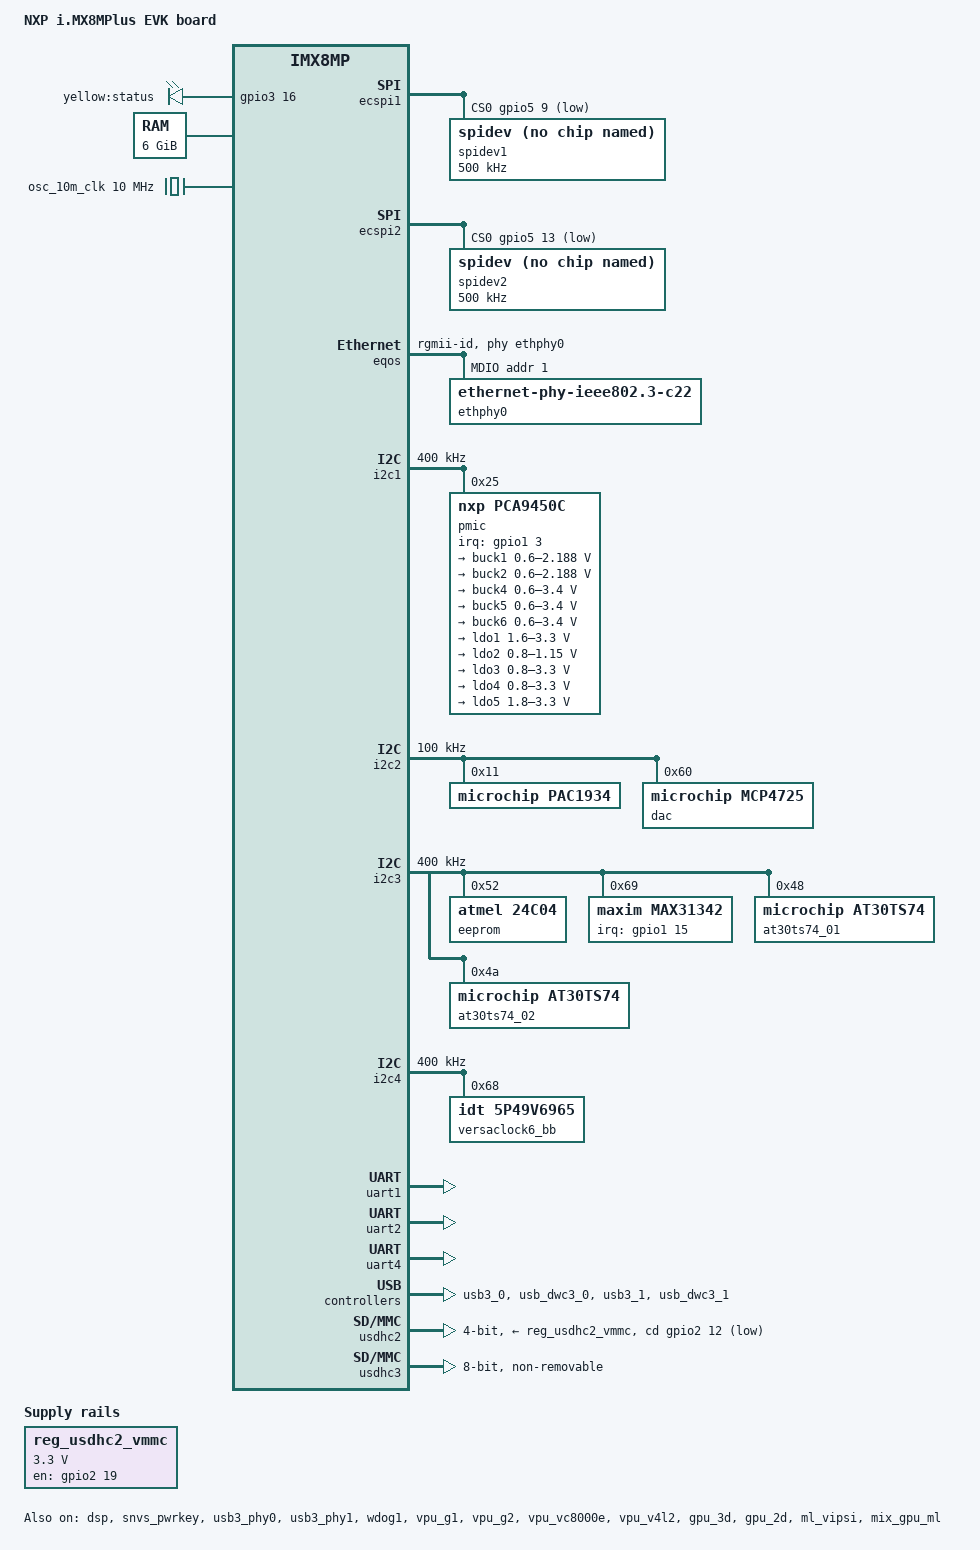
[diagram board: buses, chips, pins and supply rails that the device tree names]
// SPDX-License-Identifier: (GPL-2.0+ OR MIT)
/*
 * Copyright 2019 NXP
 */

/dts-v1/;

#include <dt-bindings/usb/pd.h>
#include <dt-bindings/clk/versaclock.h>
#include "imx8mp.dtsi"

/ {
	model = "NXP i.MX8MPlus EVK board";
	compatible = "fsl,imx8mp-evk", "fsl,imx8mp";

	chosen {
		stdout-path = &uart2;
	};

	gpio-leds {
		compatible = "gpio-leds";
		pinctrl-names = "default";
		pinctrl-0 = <&pinctrl_gpio_led>;

		status {
			label = "yellow:status";
			gpios = <&gpio3 16 GPIO_ACTIVE_HIGH>;
			default-state = "on";
		};
	};

	memory@40000000 {
		device_type = "memory";
		reg = <0x0 0x40000000 0 0xc0000000>,
		      <0x1 0x00000000 0 0xc0000000>;
	};

	reg_usdhc2_vmmc: regulator-usdhc2 {
		compatible = "regulator-fixed";
		pinctrl-names = "default";
		pinctrl-0 = <&pinctrl_reg_usdhc2_vmmc>;
		regulator-name = "VSD_3V3";
		regulator-min-microvolt = <3300000>;
		regulator-max-microvolt = <3300000>;
		gpio = <&gpio2 19 GPIO_ACTIVE_HIGH>;
		enable-active-high;
	};

	osc_10m_clk: osc-10m-clock {
		compatible = "fixed-clock";
		#clock-cells = <0>;
		clock-frequency = <10000000>;
	};
};

&A53_0 {
	cpu-supply = <&buck2>;
};

&A53_1 {
	cpu-supply = <&buck2>;
};

&A53_2 {
	cpu-supply = <&buck2>;
};

&A53_3 {
	cpu-supply = <&buck2>;
};

&dsp {
	status = "okay";
};

&ecspi1 {
	#address-cells = <1>;
	#size-cells = <0>;
	fsl,spi-num-chipselects = <1>;
	pinctrl-names = "default";
	pinctrl-0 = <&pinctrl_ecspi1 &pinctrl_ecspi1_cs>;
	cs-gpios = <&gpio5 9 GPIO_ACTIVE_LOW>;
	status = "okay";

	spidev1: spi@0 {
		reg = <0>;
		compatible = "rohm,dh2228fv";
		spi-max-frequency = <500000>;
	};
};

&ecspi2 {
	#address-cells = <1>;
	#size-cells = <0>;
	fsl,spi-num-chipselects = <1>;
	pinctrl-names = "default";
	pinctrl-0 = <&pinctrl_ecspi2 &pinctrl_ecspi2_cs>;
	cs-gpios = <&gpio5 13 GPIO_ACTIVE_LOW>;
	status = "okay";

	spidev2: spi@0 {
		reg = <0>;
		compatible = "rohm,dh2228fv";
		spi-max-frequency = <500000>;
	};
};

&eqos {
	pinctrl-names = "default";
	pinctrl-0 = <&pinctrl_eqos>;
	phy-mode = "rgmii-id";
	phy-handle = <&ethphy0>;
	snps,force_thresh_dma_mode;
	snps,mtl-tx-config = <&mtl_tx_setup>;
	snps,mtl-rx-config = <&mtl_rx_setup>;
	status = "okay";

	mdio {
		compatible = "snps,dwmac-mdio";
		#address-cells = <1>;
		#size-cells = <0>;

		ethphy0: ethernet-phy@1 {
			compatible = "ethernet-phy-ieee802.3-c22";
			reg = <1>;
			eee-broken-1000t;
			realtek,clkout-disable;
		};
	};

	mtl_tx_setup: tx-queues-config {
		snps,tx-queues-to-use = <5>;
		snps,tx-sched-sp;
		queue0 {
			snps,dcb-algorithm;
			snps,priority = <0x1>;
		};
		queue1 {
			snps,dcb-algorithm;
			snps,priority = <0x2>;
		};
		queue2 {
			snps,dcb-algorithm;
			snps,priority = <0x4>;
		};
		queue3 {
			snps,dcb-algorithm;
			snps,priority = <0x8>;
		};
		queue4 {
			snps,dcb-algorithm;
			snps,priority = <0xf0>;
		};
	};
	mtl_rx_setup: rx-queues-config {
		snps,rx-queues-to-use = <5>;
		snps,rx-sched-sp;
		queue0 {
			snps,dcb-algorithm;
			snps,priority = <0x1>;
			snps,map-to-dma-channel = <0>;
		};
		queue1 {
			snps,dcb-algorithm;
			snps,priority = <0x2>;
			snps,map-to-dma-channel = <1>;
		};
		queue2 {
			snps,dcb-algorithm;
			snps,priority = <0x4>;
			snps,map-to-dma-channel = <2>;
		};
		queue3 {
			snps,dcb-algorithm;
			snps,priority = <0x8>;
			snps,map-to-dma-channel = <3>;
		};
		queue4 {
			snps,dcb-algorithm;
			snps,priority = <0xf0>;
			snps,map-to-dma-channel = <4>;
		};
	};
};

&i2c1 {
	clock-frequency = <400000>;
	pinctrl-names = "default";
	pinctrl-0 = <&pinctrl_i2c1>;
	status = "okay";

	pmic@25 {
		compatible = "nxp,pca9450c";
		reg = <0x25>;
		pinctrl-names = "default";
		pinctrl-0 = <&pinctrl_pmic>;
		interrupt-parent = <&gpio1>;
		interrupts = <3 IRQ_TYPE_LEVEL_LOW>;

		regulators {
			buck1: BUCK1 {
				regulator-name = "BUCK1";
				regulator-min-microvolt = <600000>;
				regulator-max-microvolt = <2187500>;
				regulator-boot-on;
				regulator-always-on;
				regulator-ramp-delay = <3125>;
			};

			buck2: BUCK2 {
				regulator-name = "BUCK2";
				regulator-min-microvolt = <600000>;
				regulator-max-microvolt = <2187500>;
				regulator-boot-on;
				regulator-always-on;
				regulator-ramp-delay = <3125>;
				nxp,dvs-run-voltage = <950000>;
				nxp,dvs-standby-voltage = <850000>;
			};

			buck4: BUCK4{
				regulator-name = "BUCK4";
				regulator-min-microvolt = <600000>;
				regulator-max-microvolt = <3400000>;
				regulator-boot-on;
				regulator-always-on;
			};

			buck5: BUCK5{
				regulator-name = "BUCK5";
				regulator-min-microvolt = <600000>;
				regulator-max-microvolt = <3400000>;
				regulator-boot-on;
				regulator-always-on;
			};

			buck6: BUCK6 {
				regulator-name = "BUCK6";
				regulator-min-microvolt = <600000>;
				regulator-max-microvolt = <3400000>;
				regulator-boot-on;
				regulator-always-on;
			};

			ldo1: LDO1 {
				regulator-name = "LDO1";
				regulator-min-microvolt = <1600000>;
				regulator-max-microvolt = <3300000>;
				regulator-boot-on;
				regulator-always-on;
			};

			ldo2: LDO2 {
				regulator-name = "LDO2";
				regulator-min-microvolt = <800000>;
				regulator-max-microvolt = <1150000>;
				regulator-boot-on;
				regulator-always-on;
			};

			ldo3: LDO3 {
				regulator-name = "LDO3";
				regulator-min-microvolt = <800000>;
				regulator-max-microvolt = <3300000>;
				regulator-boot-on;
				regulator-always-on;
			};

			ldo4: LDO4 {
				regulator-name = "LDO4";
				regulator-min-microvolt = <800000>;
				regulator-max-microvolt = <3300000>;
				regulator-boot-on;
				regulator-always-on;
			};

			ldo5: LDO5 {
				regulator-name = "LDO5";
				regulator-min-microvolt = <1800000>;
				regulator-max-microvolt = <3300000>;
				regulator-boot-on;
				regulator-always-on;
			};
		};
	};
};

&i2c2 {
	clock-frequency = <100000>;
	pinctrl-names = "default";
	pinctrl-0 = <&pinctrl_i2c2>;
	status = "okay";

	pac1934@11 {
		compatible = "microchip,pac1934";
		reg = <0x11>;
		samp-rate = <64>;
		status = "okay";

		ch1: channel@0 {
			uohms-shunt-res = <100000>; /* shunt resistor is 10 mOhm */
			rail-name = "R1";
			channel_enabled;
			channel_index = <1>;
		};

		ch2: channel@1 {
			uohms-shunt-res = <100000>; /* shunt resistor is 10 mOhm */
			rail-name = "R2";
			channel_enabled;
			channel_index = <2>;
		};

		ch3: channel@2 {
			uohms-shunt-res = <100000>; /* shunt resistor is 10 mOhm */
			rail-name = "R3";
			channel_enabled;
			channel_index = <3>;
		};

		ch4: channel@3 {
			uohms-shunt-res = <100000>; /* shunt resistor is 10 mOhm */
			rail-name = "R4";
			channel_enabled;
			channel_index = <4>;
		};
	};

	dac@60 {
		compatible = "microchip,mcp4725";
		reg = <0x60>;
	};
};

&i2c3 {
	clock-frequency = <400000>;
	pinctrl-names = "default";
	pinctrl-0 = <&pinctrl_i2c3>;
	status = "okay";

	eeprom@52 {
		compatible = "atmel,24c04"; /* Todo : Address need to confirm*/
		reg = <0x52>;
	};

	max31342: max31342@69 {
		compatible = "maxim,max31342";
		reg = <0x69>;
		interrupt-parent = <&gpio1>;
		interrupts = <15 8>;
	};

	at30ts74_01: at30ts74_01@48 {
		compatible = "microchip,at30ts74";
		reg = <0x48>;
	};

	at30ts74_02: at30ts74_02@4a {
		compatible = "microchip,at30ts74";
		reg = <0x4a>;
	};
};

&i2c4 {
	clock-frequency = <400000>;
	pinctrl-names = "default";
	pinctrl-0 = <&pinctrl_i2c4>;
	status = "okay";

	versaclock6_bb: clock-controller@68 {
		compatible = "idt,5p49v6965";
		reg = <0x68>;
		#clock-cells = <1>;
		clocks = <&osc_10m_clk>;
		clock-names = "xin";

		assigned-clocks = <&versaclock6_bb 1>,
				   <&versaclock6_bb 2>,
				   <&versaclock6_bb 3>,
				   <&versaclock6_bb 4>;
		assigned-clock-rates =	<25000000>, <26000000>, <24000000>, <32768>;

		OUT1 {
			idt,mode = <VC5_CMOS>;
			idt,voltage-microvolt = <1800000>;
			idt,slew-percent = <100>;
		};

		OUT2 {
			idt,mode = <VC5_CMOS>;
			idt,voltage-microvolt = <1800000>;
			idt,slew-percent = <100>;
		};

		OUT3 {
			idt,mode = <VC5_CMOS>;
			idt,voltage-microvolt = <1800000>;
			idt,slew-percent = <100>;
		};

		OUT4 {
			idt,mode = <VC5_CMOS>;
			idt,voltage-microvolt = <1800000>;
			idt,slew-percent = <100>;
		};
	};
};

&snvs_pwrkey {
	status = "okay";
};

&sdma2 {
	status = "okay";
};

&uart1 {
	pinctrl-names = "default";
	pinctrl-0 = <&pinctrl_uart1>;
	assigned-clocks = <&clk IMX8MP_CLK_UART1>;
	assigned-clock-parents = <&clk IMX8MP_SYS_PLL1_80M>;
	status = "okay";
};

&uart2 {
	/* console */
	pinctrl-names = "default";
	pinctrl-0 = <&pinctrl_uart2>;
	status = "okay";
};

&uart4 {
	pinctrl-names = "default";
	pinctrl-0 = <&pinctrl_uart4>;
	assigned-clocks = <&clk IMX8MP_CLK_UART4>;
	assigned-clock-parents = <&clk IMX8MP_SYS_PLL1_80M>;
	status = "okay";
};

&usb3_phy0 {
	status = "okay";
};

&usb3_0 {
	status = "okay";
};

&usb_dwc3_0 {
	status = "okay";
};

&usb3_phy1 {
	status = "okay";
};

&usb3_1 {
	status = "okay";
};

&usb_dwc3_1 {
	status = "okay";
};

&usdhc2 {
	assigned-clocks = <&clk IMX8MP_CLK_USDHC2>;
	assigned-clock-rates = <400000000>;
	pinctrl-names = "default", "state_100mhz", "state_200mhz";
	pinctrl-0 = <&pinctrl_usdhc2>, <&pinctrl_usdhc2_gpio>;
	pinctrl-1 = <&pinctrl_usdhc2_100mhz>, <&pinctrl_usdhc2_gpio>;
	pinctrl-2 = <&pinctrl_usdhc2_200mhz>, <&pinctrl_usdhc2_gpio>;
	cd-gpios = <&gpio2 12 GPIO_ACTIVE_LOW>;
	vmmc-supply = <&reg_usdhc2_vmmc>;
	bus-width = <4>;
	status = "okay";
};

&usdhc3 {
	assigned-clocks = <&clk IMX8MP_CLK_USDHC3>;
	assigned-clock-rates = <400000000>;
	pinctrl-names = "default", "state_100mhz", "state_200mhz";
	pinctrl-0 = <&pinctrl_usdhc3>;
	pinctrl-1 = <&pinctrl_usdhc3_100mhz>;
	pinctrl-2 = <&pinctrl_usdhc3_200mhz>;
	bus-width = <8>;
	non-removable;
	status = "okay";
};

&wdog1 {
	pinctrl-names = "default";
	pinctrl-0 = <&pinctrl_wdog>;
	fsl,ext-reset-output;
	status = "okay";
};

&iomuxc {
	pinctrl_ecspi1: ecspi1grp {
		fsl,pins = <
			MX8MP_IOMUXC_ECSPI1_SCLK__ECSPI1_SCLK		0x82
			MX8MP_IOMUXC_ECSPI1_MOSI__ECSPI1_MOSI		0x82
			MX8MP_IOMUXC_ECSPI1_MISO__ECSPI1_MISO		0x82
		>;
	};

	pinctrl_ecspi1_cs: ecspi1cs {
		fsl,pins = <
			MX8MP_IOMUXC_ECSPI1_SS0__GPIO5_IO09		0x40000
		>;
	};

	pinctrl_ecspi2: ecspi2grp {
		fsl,pins = <
			MX8MP_IOMUXC_ECSPI2_SCLK__ECSPI2_SCLK		0x82
			MX8MP_IOMUXC_ECSPI2_MOSI__ECSPI2_MOSI		0x82
			MX8MP_IOMUXC_ECSPI2_MISO__ECSPI2_MISO		0x82
		>;
	};

	pinctrl_ecspi2_cs: ecspi2cs {
		fsl,pins = <
			MX8MP_IOMUXC_ECSPI2_SS0__GPIO5_IO13		0x40000
		>;
	};

	pinctrl_eqos: eqosgrp {
		fsl,pins = <
			MX8MP_IOMUXC_ENET_MDC__ENET_QOS_MDC				0x3
			MX8MP_IOMUXC_ENET_MDIO__ENET_QOS_MDIO				0x3
			MX8MP_IOMUXC_ENET_RD0__ENET_QOS_RGMII_RD0			0x91
			MX8MP_IOMUXC_ENET_RD1__ENET_QOS_RGMII_RD1			0x91
			MX8MP_IOMUXC_ENET_RD2__ENET_QOS_RGMII_RD2			0x91
			MX8MP_IOMUXC_ENET_RD3__ENET_QOS_RGMII_RD3			0x91
			MX8MP_IOMUXC_ENET_RXC__CCM_ENET_QOS_CLOCK_GENERATE_RX_CLK	0x91
			MX8MP_IOMUXC_ENET_RX_CTL__ENET_QOS_RGMII_RX_CTL			0x91
			MX8MP_IOMUXC_ENET_TD0__ENET_QOS_RGMII_TD0			0x1f
			MX8MP_IOMUXC_ENET_TD1__ENET_QOS_RGMII_TD1			0x1f
			MX8MP_IOMUXC_ENET_TD2__ENET_QOS_RGMII_TD2			0x1f
			MX8MP_IOMUXC_ENET_TD3__ENET_QOS_RGMII_TD3			0x1f
			MX8MP_IOMUXC_ENET_TX_CTL__ENET_QOS_RGMII_TX_CTL			0x1f
			MX8MP_IOMUXC_ENET_TXC__CCM_ENET_QOS_CLOCK_GENERATE_TX_CLK	0x1f
			MX8MP_IOMUXC_SAI2_RXC__GPIO4_IO22				0x19
		>;
	};

	pinctrl_gpio_led: gpioledgrp {
		fsl,pins = <
			MX8MP_IOMUXC_NAND_READY_B__GPIO3_IO16	0x19
		>;
	};

	pinctrl_i2c1: i2c1grp {
		fsl,pins = <
			MX8MP_IOMUXC_I2C1_SCL__I2C1_SCL		0x400001c2
			MX8MP_IOMUXC_I2C1_SDA__I2C1_SDA		0x400001c2
		>;
	};

	pinctrl_i2c2: i2c2grp {
		fsl,pins = <
			MX8MP_IOMUXC_I2C2_SCL__I2C2_SCL		0x400001c2
			MX8MP_IOMUXC_I2C2_SDA__I2C2_SDA		0x400001c2
		>;
	};

	pinctrl_i2c3: i2c3grp {
		fsl,pins = <
			MX8MP_IOMUXC_I2C3_SCL__I2C3_SCL		0x400001c2
			MX8MP_IOMUXC_I2C3_SDA__I2C3_SDA		0x400001c2
		>;
	};

	pinctrl_i2c4: i2c4grp {
		fsl,pins = <
			MX8MP_IOMUXC_I2C4_SCL__I2C4_SCL		0x400001c2
			MX8MP_IOMUXC_I2C4_SDA__I2C4_SDA		0x400001c2
		>;
	};

	pinctrl_pmic: pmicgrp {
		fsl,pins = <
			MX8MP_IOMUXC_GPIO1_IO03__GPIO1_IO03	0x000001c0
		>;
	};

	pinctrl_reg_usdhc2_vmmc: regusdhc2vmmcgrp {
		fsl,pins = <
			MX8MP_IOMUXC_SD2_RESET_B__GPIO2_IO19	0x41
		>;
	};

	pinctrl_uart1: uart1grp {
		fsl,pins = <
			MX8MP_IOMUXC_UART1_RXD__UART1_DCE_RX	0x140
			MX8MP_IOMUXC_UART1_TXD__UART1_DCE_TX	0x140
		>;
	};

	pinctrl_uart2: uart2grp {
		fsl,pins = <
			MX8MP_IOMUXC_UART2_RXD__UART2_DCE_RX	0x140
			MX8MP_IOMUXC_UART2_TXD__UART2_DCE_TX	0x140
		>;
	};

	pinctrl_uart4: uart4grp {
		fsl,pins = <
			MX8MP_IOMUXC_UART4_RXD__UART4_DCE_RX	0x140
			MX8MP_IOMUXC_UART4_TXD__UART4_DCE_TX	0x140
		>;
	};

	pinctrl_usdhc2: usdhc2grp {
		fsl,pins = <
			MX8MP_IOMUXC_SD2_CLK__USDHC2_CLK	0x190
			MX8MP_IOMUXC_SD2_CMD__USDHC2_CMD	0x1d0
			MX8MP_IOMUXC_SD2_DATA0__USDHC2_DATA0	0x1d0
			MX8MP_IOMUXC_SD2_DATA1__USDHC2_DATA1	0x1d0
			MX8MP_IOMUXC_SD2_DATA2__USDHC2_DATA2	0x1d0
			MX8MP_IOMUXC_SD2_DATA3__USDHC2_DATA3	0x1d0
			MX8MP_IOMUXC_GPIO1_IO04__USDHC2_VSELECT	0xc1
		>;
	};

	pinctrl_usdhc2_100mhz: usdhc2-100mhzgrp {
		fsl,pins = <
			MX8MP_IOMUXC_SD2_CLK__USDHC2_CLK	0x194
			MX8MP_IOMUXC_SD2_CMD__USDHC2_CMD	0x1d4
			MX8MP_IOMUXC_SD2_DATA0__USDHC2_DATA0	0x1d4
			MX8MP_IOMUXC_SD2_DATA1__USDHC2_DATA1	0x1d4
			MX8MP_IOMUXC_SD2_DATA2__USDHC2_DATA2	0x1d4
			MX8MP_IOMUXC_SD2_DATA3__USDHC2_DATA3	0x1d4
			MX8MP_IOMUXC_GPIO1_IO04__USDHC2_VSELECT 0xc1
		>;
	};

	pinctrl_usdhc2_200mhz: usdhc2-200mhzgrp {
		fsl,pins = <
			MX8MP_IOMUXC_SD2_CLK__USDHC2_CLK	0x196
			MX8MP_IOMUXC_SD2_CMD__USDHC2_CMD	0x1d6
			MX8MP_IOMUXC_SD2_DATA0__USDHC2_DATA0	0x1d6
			MX8MP_IOMUXC_SD2_DATA1__USDHC2_DATA1	0x1d6
			MX8MP_IOMUXC_SD2_DATA2__USDHC2_DATA2	0x1d6
			MX8MP_IOMUXC_SD2_DATA3__USDHC2_DATA3	0x1d6
			MX8MP_IOMUXC_GPIO1_IO04__USDHC2_VSELECT 0xc1
		>;
	};

	pinctrl_usdhc2_gpio: usdhc2gpiogrp {
		fsl,pins = <
			MX8MP_IOMUXC_SD2_CD_B__GPIO2_IO12	0x1c4
		>;
	};

	pinctrl_usdhc3: usdhc3grp {
		fsl,pins = <
			MX8MP_IOMUXC_NAND_WE_B__USDHC3_CLK	0x190
			MX8MP_IOMUXC_NAND_WP_B__USDHC3_CMD	0x1d0
			MX8MP_IOMUXC_NAND_DATA04__USDHC3_DATA0	0x1d0
			MX8MP_IOMUXC_NAND_DATA05__USDHC3_DATA1	0x1d0
			MX8MP_IOMUXC_NAND_DATA06__USDHC3_DATA2	0x1d0
			MX8MP_IOMUXC_NAND_DATA07__USDHC3_DATA3	0x1d0
			MX8MP_IOMUXC_NAND_RE_B__USDHC3_DATA4	0x1d0
			MX8MP_IOMUXC_NAND_CE2_B__USDHC3_DATA5	0x1d0
			MX8MP_IOMUXC_NAND_CE3_B__USDHC3_DATA6	0x1d0
			MX8MP_IOMUXC_NAND_CLE__USDHC3_DATA7	0x1d0
			MX8MP_IOMUXC_NAND_CE1_B__USDHC3_STROBE	0x190
		>;
	};

	pinctrl_usdhc3_100mhz: usdhc3-100mhzgrp {
		fsl,pins = <
			MX8MP_IOMUXC_NAND_WE_B__USDHC3_CLK	0x194
			MX8MP_IOMUXC_NAND_WP_B__USDHC3_CMD	0x1d4
			MX8MP_IOMUXC_NAND_DATA04__USDHC3_DATA0	0x1d4
			MX8MP_IOMUXC_NAND_DATA05__USDHC3_DATA1	0x1d4
			MX8MP_IOMUXC_NAND_DATA06__USDHC3_DATA2	0x1d4
			MX8MP_IOMUXC_NAND_DATA07__USDHC3_DATA3	0x1d4
			MX8MP_IOMUXC_NAND_RE_B__USDHC3_DATA4	0x1d4
			MX8MP_IOMUXC_NAND_CE2_B__USDHC3_DATA5	0x1d4
			MX8MP_IOMUXC_NAND_CE3_B__USDHC3_DATA6	0x1d4
			MX8MP_IOMUXC_NAND_CLE__USDHC3_DATA7	0x1d4
			MX8MP_IOMUXC_NAND_CE1_B__USDHC3_STROBE	0x194
		>;
	};

	pinctrl_usdhc3_200mhz: usdhc3-200mhzgrp {
		fsl,pins = <
			MX8MP_IOMUXC_NAND_WE_B__USDHC3_CLK	0x196
			MX8MP_IOMUXC_NAND_WP_B__USDHC3_CMD	0x1d6
			MX8MP_IOMUXC_NAND_DATA04__USDHC3_DATA0	0x1d6
			MX8MP_IOMUXC_NAND_DATA05__USDHC3_DATA1	0x1d6
			MX8MP_IOMUXC_NAND_DATA06__USDHC3_DATA2	0x1d6
			MX8MP_IOMUXC_NAND_DATA07__USDHC3_DATA3	0x1d6
			MX8MP_IOMUXC_NAND_RE_B__USDHC3_DATA4	0x1d6
			MX8MP_IOMUXC_NAND_CE2_B__USDHC3_DATA5	0x1d6
			MX8MP_IOMUXC_NAND_CE3_B__USDHC3_DATA6	0x1d6
			MX8MP_IOMUXC_NAND_CLE__USDHC3_DATA7	0x1d6
			MX8MP_IOMUXC_NAND_CE1_B__USDHC3_STROBE	0x196
		>;
	};

	pinctrl_wdog: wdoggrp {
		fsl,pins = <
			MX8MP_IOMUXC_GPIO1_IO02__WDOG1_WDOG_B	0x166
		>;
	};
};

&vpu_g1 {
	status = "okay";
};

&vpu_g2 {
	status = "okay";
};

&vpu_vc8000e {
	status = "okay";
};

&vpu_v4l2 {
	status = "okay";
};

&gpu_3d {
	status = "okay";
};

&gpu_2d {
	status = "okay";
};

&ml_vipsi {
	status = "okay";
};

&mix_gpu_ml {
	status = "okay";
};
